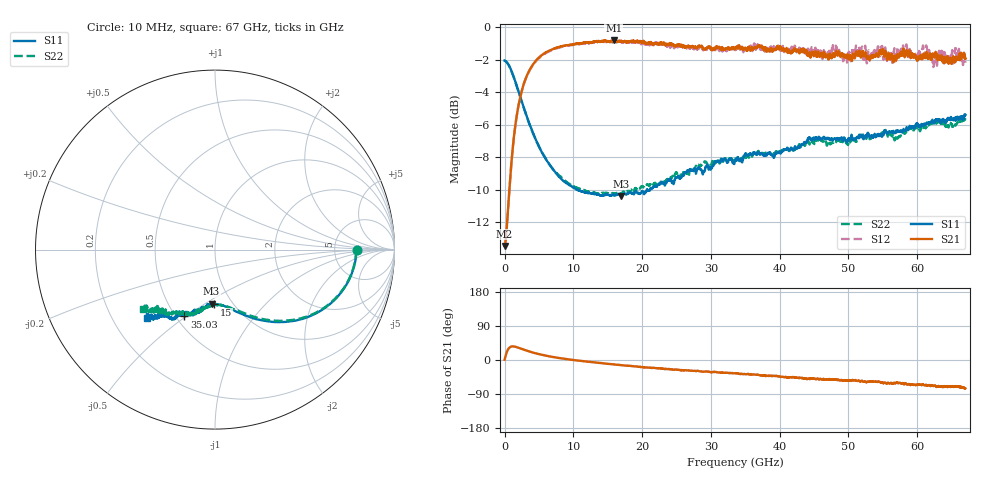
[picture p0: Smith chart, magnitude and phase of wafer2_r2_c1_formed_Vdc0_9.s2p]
!Keysight Technologies,N5227A,US51270248,A.10.65.08
!Date: Tuesday, June 11, 2024 07:30:17
!Correction: S11(Full 2 Port(1,4))
!S41(Full 2 Port(1,4))
!S14(Full 2 Port(1,4))
!S44(Full 2 Port(1,4))
!S2P File: Measurements: S11, S41, S14, S44:
# Hz S  dB  R 50
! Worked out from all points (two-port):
!   3201 points, 10 MHz to 67 GHz, reference 50 ohm
!   highest |S21| = -0.83 dB at 15.88 GHz (marker M1); lowest = -13.4 dB at 10 MHz (marker M2)
!   |S21| within 3 dB of the highest: 2.564 GHz to end of sweep
!   lowest |S11| = -10.4 dB at 16.97 GHz (marker M3), VSWR 1.87, Z = 40.2 - j26.7 ohm
!   |S11| at or under -10 dB: 10.59243 GHz to 10.61523 GHz (22.8 MHz wide, 0.215 % of centre); 10.65 GHz to 20.68 GHz (10.02 GHz wide, 64 % of centre); 20.77 GHz to 21.11 GHz (343.3 MHz wide, 1.64 % of centre)
!   |S22| runs from -10.3 to -2.1 dB; largest |S21 - S12| = 0.095
!   S11 on the Smith chart (normalised r, x): 10 MHz: 8.45, -0.19; 15 GHz: 0.82, -0.56; 35.03 GHz: 0.55, -0.49; 67 GHz: 0.35, -0.37
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1e7  -2.06 -0.3  -13.43 0.9  -13.45 1.0  -2.06 -0.3
1.475406e9  -3.24 -28.7  -6.35 35.3  -6.35 35.1  -3.25 -28.3
3.087353e9  -5.32 -48.2  -3.15 25.5  -3.17 25.4  -5.33 -47.2
6.122838e9  -8.19 -67.2  -1.54 11.0  -1.58 10.9  -8.18 -65.3
1.118896e10  -10.09 -82.6  -0.99 -2.4  -1.04 -2.6  -9.96 -81.0
1.499901e10  -10.29 -90.5  -0.87 -10.0  -0.91 -9.9  -10.20 -89.3
1.587826e10  -10.33 -92.1  -0.83 -11.6  -0.91 -11.2  -10.24 -91.2
1.696684e10  -10.38 -93.6  -0.85 -13.6  -0.95 -13.6  -10.23 -92.5
2.234698e10  -9.67 -99.4  -1.05 -21.7  -1.04 -21.3  -9.73 -100.2
3.3505e10  -8.21 -112.7  -1.33 -34.8  -1.42 -34.7  -7.99 -116.8
3.503321e10  -7.75 -114.6  -1.31 -37.7  -1.37 -36.2  -8.04 -117.7
4.468396e10  -6.87 -122.8  -1.60 -49.2  -1.29 -48.2  -7.04 -126.2
5.012689e10  -6.95 -126.7  -1.89 -54.0  -1.55 -53.0  -7.06 -130.4
5.173884e10  -6.67 -127.4  -1.76 -57.0  -1.82 -54.6  -6.78 -131.4
5.297397e10  -6.62 -129.4  -1.90 -57.8  -1.50 -57.1  -6.69 -134.3
5.460685e10  -6.66 -129.7  -1.43 -58.3  -1.80 -56.7  -6.58 -133.5
5.584198e10  -6.44 -129.3  -1.68 -60.4  -1.80 -60.3  -6.73 -135.7
5.730738e10  -6.39 -130.0  -1.88 -60.9  -1.66 -61.0  -6.73 -134.1
6.153613e10  -5.90 -131.6  -1.95 -67.7  -1.68 -68.1  -6.09 -136.7
6.264565e10  -5.71 -131.3  -1.61 -67.6  -1.90 -68.3  -5.84 -138.2
6.375517e10  -5.74 -133.9  -1.85 -70.9  -1.63 -70.4  -5.89 -140.6
6.7e10  -5.38 -134.6  -1.94 -74.6  -2.20 -75.1  -5.69 -140.6
